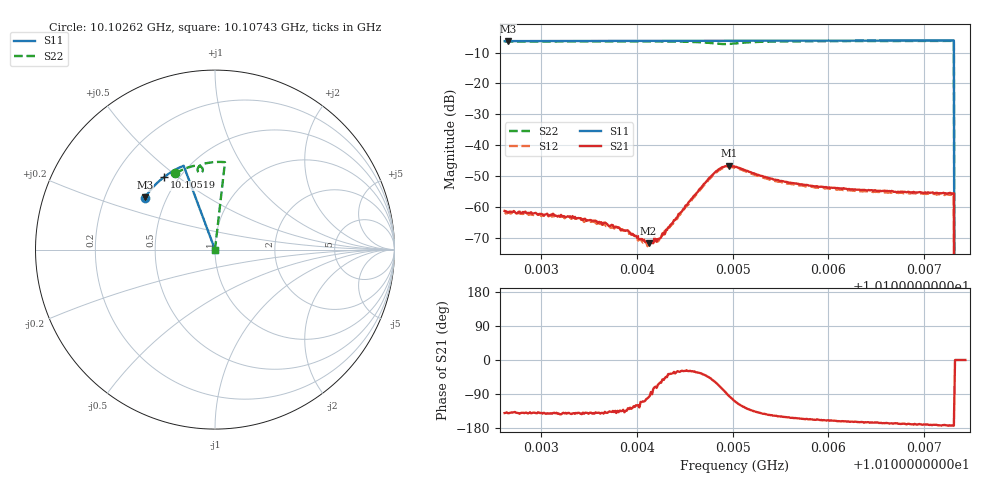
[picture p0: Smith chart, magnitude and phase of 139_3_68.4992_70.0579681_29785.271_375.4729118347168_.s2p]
#  HZ  S  RI  R  50.00
! Rohde & Schwarz Vector Network Analyzer
! Rohde-Schwarz,ZNB20-2Port,1311601062101988,3.16
! Created: UTC 3/20/2024, 5:09:57 PM
! freq[Hz]  re:S11  im:S11  re:S21  im:S21  re:S12  im:S12  re:S22  im:S22
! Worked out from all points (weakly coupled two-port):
!   401 points, 10.10262 GHz to 10.10743 GHz, reference 50 ohm
!   highest |S21| = -46.72 dB at 10.10496 GHz (marker M1); lowest = -71.9 dB at 10.10412 GHz (marker M2)
!   lowest |S11| = -6.3 dB at 10.10266 GHz (marker M3), VSWR 2.90, Z = 18.9 + j14.5 ohm
!   |S11| at or under -10 dB: 10.10731 GHz to end of sweep
!   |S22| runs from - to -6.2 dB; largest |S21 - S12| = 0.00048
!   S11 on the Smith chart (normalised r, x): 10.10262 GHz: 0.38, +0.29; 10.10519 GHz: 0.42, +0.44; 10.10743 GHz: 1.00, +0.00
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1.0102621e10  -0.3912 0.2899  -0.000655 -0.000551  -0.000522 -0.000568  -0.2219 0.4246
1.0102657e10  -0.3899 0.2916  -0.000617 -0.00051  -0.000557 -0.000577  -0.2198 0.4259
1.010321e10  -0.3702 0.319  -0.000592 -0.000439  -0.0005 -0.000466  -0.1872 0.4427
1.0103426e10  -0.3618 0.3292  -0.000491 -0.000371  -0.000466 -0.000431  -0.1738 0.4486
1.0103678e10  -0.3519 0.3408  -0.000407 -0.000356  -0.00033 -0.000355  -0.1575 0.455
1.0103847e10  -0.3451 0.3485  -0.000298 -0.000304  -0.000281 -0.000329  -0.1464 0.4589
1.0103907e10  -0.3426 0.3511  -0.000252 -0.000328  -0.000207 -0.000303  -0.1422 0.4602
1.0104003e10  -0.3387 0.3555  -0.000153 -0.000272  -0.000121 -0.000273  -0.1354 0.4621
1.0104123e10  -0.3334 0.3605  -3.67e-05 -0.000252  -9.94e-06 -0.000254  -0.1266 0.4645
1.0104147e10  -0.3324 0.3616  2.51e-05 -0.000256  4.14e-05 -0.000253  -0.1246 0.4647
1.0104231e10  -0.3288 0.3653  0.000138 -0.000266  0.000175 -0.000227  -0.1182 0.4661
1.010476e10  -0.305 0.3868  0.00202 -0.00217  0.00212 -0.00189  -0.0685 0.4494
1.0104868e10  -0.3002 0.391  0.00141 -0.00392  0.00169 -0.00363  -0.0723 0.4323
1.0104965e10  -0.2957 0.3946  -0.000437 -0.00459  -3.54e-05 -0.00444  -0.0885 0.4298
1.0105025e10  -0.2929 0.3969  -0.00146 -0.0042  -0.00101 -0.00417  -0.0954 0.4369
1.0105193e10  -0.2851 0.4032  -0.00245 -0.00267  -0.00213 -0.00273  -0.0927 0.4586
1.0105458e10  -0.2722 0.4128  -0.00228 -0.00146  -0.00207 -0.00156  -0.0719 0.4744
1.010583e10  -0.2536 0.4257  -0.00201 -0.000845  -0.00185 -0.000998  -0.0438 0.4827
1.0106636e10  -0.2114 0.4502  -0.00176 -0.000391  -0.00162 -0.000545  0.0114 0.4884
1.0107285e10  -0.176 0.4667  -0.00161 -0.000206  -0.00154 -0.00034  0.054 0.4874
1.0107345e10  0 0  0 0  0 0  0 0
1.0107429e10  0 0  0 0  0 0  0 0
